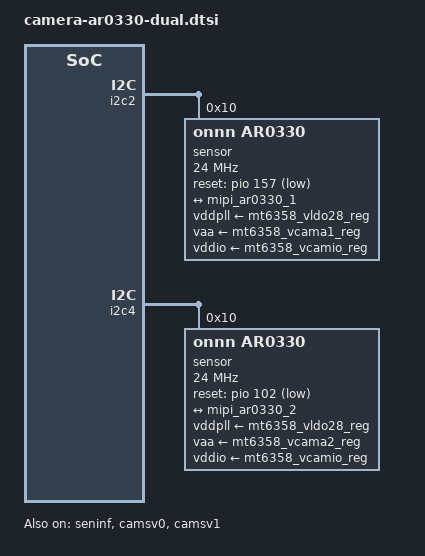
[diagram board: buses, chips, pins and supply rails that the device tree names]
// SPDX-License-Identifier: GPL-2.0
/*
 * Copyright (c) 2020 Laurent Pinchart <laurent.pinchart@ideasonboard.com>
 */

#include <dt-bindings/input/input.h>
#include <dt-bindings/clock/mt8183-clk.h>
#include <dt-bindings/gpio/gpio.h>
#include <dt-bindings/pinctrl/mt8183-pinfunc.h>

/dts-v1/;
/plugin/;

/ {
	fragment@0 {
		target = <&pio>;
		__overlay__ {
			cam0_pins_default: cam0_pins_default {
				pins_clk_rst {
					pinmux = <PINMUX_GPIO99__FUNC_CMMCLK0>,
						 <PINMUX_GPIO157__FUNC_GPIO157>;
				};
			};

			cam1_pins_default: cam1_pins_default {
				pins_clk_rst {
					pinmux = <PINMUX_GPIO100__FUNC_CMMCLK1>,
						 <PINMUX_GPIO102__FUNC_GPIO102>;
				};
			};
		};
	};

	fragment@1 {
		target = <&mt6358regulator>;
		__overlay__ {
			mt6358_vldo28_reg: ldo_vldo28 {
				regulator-min-microvolt = <2800000>;
				regulator-max-microvolt = <2800000>;
			};

			mt6358_vcama1_reg: ldo_vcama1 {
				regulator-min-microvolt = <2800000>;
				regulator-max-microvolt = <2800000>;
			};

			mt6358_vcama2_reg: ldo_vcama2 {
				regulator-min-microvolt = <2800000>;
				regulator-max-microvolt = <2800000>;
			};

			mt6358_vcamio_reg: ldo_vcamio {
				regulator-min-microvolt = <1800000>;
				regulator-max-microvolt = <1800000>;
			};
		};
	};

	fragment@2 {
		target = <&i2c2>;
		__overlay__ {
			sensor@10 {
				compatible = "onnn,ar0330";
				reg = <0x10>;

				pinctrl-names = "default";
				pinctrl-0 = <&cam0_pins_default>;

				clocks = <&topckgen CLK_TOP_MUX_CAMTG>;
				clock-frequency = <24000000>;

				reset-gpios = <&pio 157 GPIO_ACTIVE_LOW>;

				vddpll-supply = <&mt6358_vldo28_reg>;
				vaa-supply = <&mt6358_vcama1_reg>;
				vddio-supply = <&mt6358_vcamio_reg>;

				orientation = <0>;
				rotation = <0>;

				port@0 {
					ar0330_1_endpoint: endpoint {
						remote-endpoint = <&mipi_ar0330_1>;
						bus-type = <4>;
						clock-lanes = <0>;
						data-lanes = <1 2>;
					};
				};
			};
		};
	};

	fragment@3 {
		target = <&i2c4>;
		__overlay__ {
			sensor@10 {
				compatible = "onnn,ar0330";
				reg = <0x10>;

				pinctrl-names = "default";
				pinctrl-0 = <&cam1_pins_default>;

				clocks = <&topckgen CLK_TOP_MUX_CAMTG2>;
				clock-frequency = <24000000>;

				reset-gpios = <&pio 102 GPIO_ACTIVE_LOW>;

				vddpll-supply = <&mt6358_vldo28_reg>;
				vaa-supply = <&mt6358_vcama2_reg>;
				vddio-supply = <&mt6358_vcamio_reg>;

				orientation = <0>;
				rotation = <0>;

				port@0 {
					ar0330_2_endpoint: endpoint {
						remote-endpoint = <&mipi_ar0330_2>;
						bus-type = <4>;
						clock-lanes = <0>;
						data-lanes = <1 2>;
					};
				};

			};
		};
	};

	fragment@4 {
		target = <&seninf>;
		__overlay__ {
			status = "okay";

			ports {
				port@0 {
					mipi_ar0330_1: endpoint {
						clock-lanes = <1>;
						data-lanes = <0 2>;
						remote-endpoint = <&ar0330_1_endpoint>;
					};
				};

				port@1 {
					mipi_ar0330_2: endpoint {
						clock-lanes = <2>;
						data-lanes = <1 3>;
						remote-endpoint = <&ar0330_2_endpoint>;
					};
				};
			};
		};
	};

	fragment@5 {
		target = <&camsv0>;
		__overlay__ {
			status = "okay";
		};
	};

	fragment@6 {
		target = <&camsv1>;
		__overlay__ {
			status = "okay";
		};
	};
};
